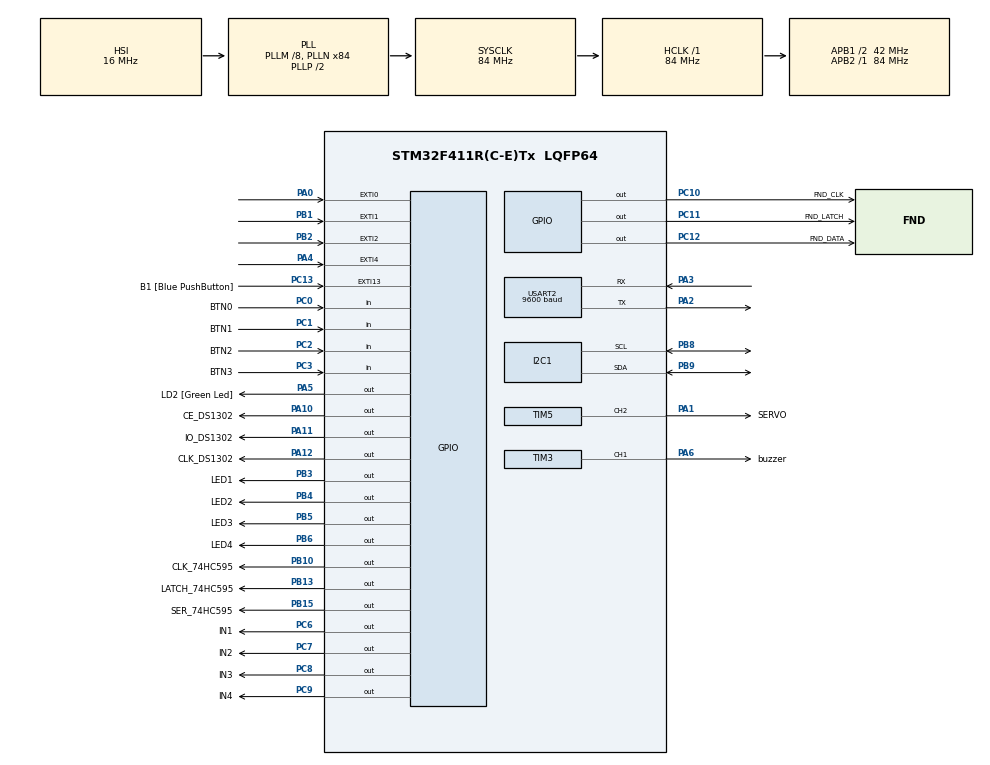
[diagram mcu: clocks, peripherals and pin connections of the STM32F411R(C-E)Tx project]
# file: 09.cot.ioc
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FREERTOS.Mutexes01=myMutex01,Dynamic,NULL
FREERTOS.Tasks01=defaultTask,24,128,StartDefaultTask,Default,NULL,Dynamic,NULL,NULL;myTask02,8,128,StartTask02,Default,NULL,Dynamic,NULL,NULL;myTask03,8,128,StartTask03,Default,NULL,Dynamic,NULL,NULL;myTask04,8,128,StartTask04,Default,NULL,Dynamic,NULL,NULL;myTask05,8,128,StartTask05,Default,NULL,Dynamic,NULL,NULL
FREERTOS.configUSE_NEWLIB_REENTRANT=1
Mcu.Family=STM32F4
Mcu.Name=STM32F411R(C-E)Tx
Mcu.Package=LQFP64
NVIC.EXTI0_IRQn=true\:5\:0\:false\:false\:true\:true\:true\:true
NVIC.EXTI1_IRQn=true\:5\:0\:false\:false\:true\:true\:true\:true
NVIC.EXTI2_IRQn=true\:5\:0\:false\:false\:true\:true\:true\:true
NVIC.EXTI4_IRQn=true\:5\:0\:false\:false\:true\:true\:true\:true
NVIC.PriorityGroup=NVIC_PRIORITYGROUP_4
NVIC.TIM1_TRG_COM_TIM11_IRQn=true\:5\:0\:false\:false\:true\:true\:true\:true
NVIC.TIM1_UP_TIM10_IRQn=true\:15\:0\:false\:false\:true\:false\:false\:true
NVIC.TIM3_IRQn=true\:5\:0\:false\:false\:true\:true\:true\:true
NVIC.TimeBase=TIM1_UP_TIM10_IRQn
NVIC.TimeBaseIP=TIM10
NVIC.USART2_IRQn=true\:5\:0\:false\:false\:true\:true\:true\:true
PA0-WKUP.Signal=GPXTI0
PA1.GPIO_Label=SERVO
PA1.Signal=S_TIM5_CH2
PA10.GPIO_Label=CE_DS1302
PA10.Signal=GPIO_Output
PA11.GPIO_Label=IO_DS1302
PA11.Signal=GPIO_Output
PA12.GPIO_Label=CLK_DS1302
PA12.Signal=GPIO_Output
PA13.GPIO_Label=TMS
PA13.Mode=Serial_Wire
PA13.Signal=SYS_JTMS-SWDIO
PA14.GPIO_Label=TCK
PA14.Mode=Serial_Wire
PA14.Signal=SYS_JTCK-SWCLK
PA2.GPIO_ModeDefaultPP=GPIO_MODE_AF_PP
PA2.GPIO_PuPd=GPIO_NOPULL
PA2.GPIO_Speed=GPIO_SPEED_FREQ_VERY_HIGH
PA2.Mode=Asynchronous
PA2.Signal=USART2_TX
PA3.GPIO_ModeDefaultPP=GPIO_MODE_AF_PP
PA3.GPIO_PuPd=GPIO_NOPULL
PA3.GPIO_Speed=GPIO_SPEED_FREQ_VERY_HIGH
PA3.Mode=Asynchronous
PA3.Signal=USART2_RX
PA4.Signal=GPXTI4
PA5.GPIO_Label=LD2 [Green Led]
PA5.Signal=GPIO_Output
PA6.GPIO_Label=buzzer
PA6.Signal=S_TIM3_CH1
PB1.Signal=GPXTI1
PB10.GPIO_Label=CLK_74HC595
PB10.Signal=GPIO_Output
PB13.GPIO_Label=LATCH_74HC595
PB13.Signal=GPIO_Output
PB15.GPIO_Label=SER_74HC595
PB15.Signal=GPIO_Output
PB2.Signal=GPXTI2
PB3.GPIO_Label=LED1
PB3.Signal=GPIO_Output
PB4.GPIO_Label=LED2
PB4.Signal=GPIO_Output
PB5.GPIO_Label=LED3
PB5.Signal=GPIO_Output
PB6.GPIO_Label=LED4
PB6.Signal=GPIO_Output
PB8.Mode=I2C
PB8.Signal=I2C1_SCL
PB9.Mode=I2C
PB9.Signal=I2C1_SDA
PC0.GPIO_Label=BTN0
PC0.Signal=GPIO_Input
PC1.GPIO_Label=BTN1
PC1.Signal=GPIO_Input
PC10.GPIO_Label=FND_CLK
PC10.Signal=GPIO_Output
PC11.GPIO_Label=FND_LATCH
PC11.Signal=GPIO_Output
PC12.GPIO_Label=FND_DATA
PC12.Signal=GPIO_Output
PC13-ANTI_TAMP.GPIO_Label=B1 [Blue PushButton]
PC13-ANTI_TAMP.GPIO_ModeDefaultEXTI=GPIO_MODE_IT_FALLING
PC13-ANTI_TAMP.GPIO_PuPd=GPIO_NOPULL
PC13-ANTI_TAMP.Signal=GPXTI13
PC14-OSC32_IN.Mode=LSE-External-Oscillator
PC14-OSC32_IN.Signal=RCC_OSC32_IN
PC15-OSC32_OUT.Mode=LSE-External-Oscillator
PC15-OSC32_OUT.Signal=RCC_OSC32_OUT
PC2.GPIO_Label=BTN2
PC2.Signal=GPIO_Input
PC3.GPIO_Label=BTN3
PC3.Signal=GPIO_Input
PC6.GPIO_Label=IN1
PC6.Signal=GPIO_Output
PC7.GPIO_Label=IN2
PC7.Signal=GPIO_Output
PC8.GPIO_Label=IN3
PC8.Signal=GPIO_Output
PC9.GPIO_Label=IN4
PC9.Signal=GPIO_Output
PH0\ -\ OSC_IN.Mode=HSE-External-Clock-Source
PH0\ -\ OSC_IN.Signal=RCC_OSC_IN
PH1\ -\ OSC_OUT.Mode=HSE-External-Clock-Source
PH1\ -\ OSC_OUT.Signal=RCC_OSC_OUT
ProjectManager.HeapSize=0x200
ProjectManager.StackSize=0x400
ProjectManager.TargetToolchain=STM32CubeIDE
RCC.48MHZClocksFreq_Value=42000000
RCC.AHBFreq_Value=84000000
RCC.APB1CLKDivider=RCC_HCLK_DIV2
RCC.APB1Freq_Value=42000000
RCC.APB1TimFreq_Value=84000000
RCC.APB2Freq_Value=84000000
RCC.APB2TimFreq_Value=84000000
RCC.CortexFreq_Value=84000000
RCC.FLatency-AdvancedSettings=FLASH_LATENCY_2
RCC.HCLKFreq_Value=84000000
RCC.HSE_VALUE=8000000
RCC.HSI_VALUE=16000000
RCC.PLLM=8
RCC.PLLN=84
RCC.SYSCLKFreq_VALUE=84000000
RCC.SYSCLKSource=RCC_SYSCLKSOURCE_PLLCLK
RCC.VCOOutputFreq_Value=168000000
SH.S_TIM3_CH1.0=TIM3_CH1,PWM Generation1 CH1
SH.S_TIM5_CH2.0=TIM5_CH2,PWM Generation2 CH2
TIM11.Period=1000-1
TIM11.Prescaler=84-1
TIM2.Prescaler=84-1
TIM3.Channel-PWM\ Generation1\ CH1=TIM_CHANNEL_1
TIM3.Period=400-1
TIM3.Prescaler=52.5-1
TIM3.Pulse-PWM\ Generation1\ CH1=200-1
TIM5.Channel-PWM\ Generation2\ CH2=TIM_CHANNEL_2
TIM5.Period=1000-1
TIM5.Prescaler=1680-1
USART2.BaudRate=9600
USART2.VirtualMode=VM_ASYNC
VP_FREERTOS_VS_CMSIS_V2.Mode=CMSIS_V2
VP_SYS_VS_tim10.Mode=TIM10
VP_TIM11_VS_ClockSourceINT.Mode=Enable_Timer
VP_TIM2_VS_ClockSourceINT.Mode=Internal
VP_TIM3_VS_ClockSourceINT.Mode=Internal
board=NUCLEO-F411RE

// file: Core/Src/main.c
/* USER CODE BEGIN Header */
/**
  ******************************************************************************
  * @file           : main.c
  * @brief          : Main program body
  ******************************************************************************
  * @attention
  *
  * <h2><center>&copy; Copyright (c) 2025 STMicroelectronics.
  * All rights reserved.</center></h2>
  *
  * This software component is licensed by ST under BSD 3-Clause license,
  * the "License"; You may not use this file except in compliance with the
  * License. You may obtain a copy of the License at:
  *                        opensource.org/licenses/BSD-3-Clause
  *
  ******************************************************************************
  */
/* USER CODE END Header */
#include "main.h"
#include "cmsis_os.h"

/* USER CODE BEGIN Includes */
#include "extern.h"
#include "fnd.h"
#include "stepmotor.h"
/* USER CODE END Includes */

I2C_HandleTypeDef hi2c1;

TIM_HandleTypeDef htim2;
TIM_HandleTypeDef htim3;
TIM_HandleTypeDef htim5;
TIM_HandleTypeDef htim11;

UART_HandleTypeDef huart2;

/* Definitions for defaultTask */
osThreadId_t defaultTaskHandle;
const osThreadAttr_t defaultTask_attributes = {
  .name = "defaultTask",
  .stack_size = 128 * 4,
  .priority = (osPriority_t) osPriorityNormal,
};
/* Definitions for myTask02 */
osThreadId_t myTask02Handle;
const osThreadAttr_t myTask02_attributes = {
  .name = "myTask02",
  .stack_size = 128 * 4,
  .priority = (osPriority_t) osPriorityLow,
};
/* Definitions for myTask03 */
osThreadId_t myTask03Handle;
const osThreadAttr_t myTask03_attributes = {
  .name = "myTask03",
  .stack_size = 128 * 4,
  .priority = (osPriority_t) osPriorityLow,
};
/* Definitions for myTask04 */
osThreadId_t myTask04Handle;
const osThreadAttr_t myTask04_attributes = {
  .name = "myTask04",
  .stack_size = 128 * 4,
  .priority = (osPriority_t) osPriorityLow,
};
/* Definitions for myTask05 */
osThreadId_t myTask05Handle;
const osThreadAttr_t myTask05_attributes = {
  .name = "myTask05",
  .stack_size = 128 * 4,
  .priority = (osPriority_t) osPriorityLow,
};
/* Definitions for myMutex01 */
osMutexId_t myMutex01Handle;
const osMutexAttr_t myMutex01_attributes = {
  .name = "myMutex01"
};
/* USER CODE BEGIN PV */
uint8_t rx_data;	//uart2 rx byte
volatile int TIM11_1ms_counter=0;
volatile int line0_timer = 0;
volatile int line1_timer = 0;
/* USER CODE END PV */

void SystemClock_Config(void);
static void MX_GPIO_Init(void);
static void MX_USART2_UART_Init(void);
static void MX_TIM11_Init(void);
static void MX_TIM2_Init(void);
static void MX_I2C1_Init(void);
static void MX_TIM3_Init(void);
static void MX_TIM5_Init(void);
void StartDefaultTask(void *argument);
void StartTask02(void *argument);
void StartTask03(void *argument);
void StartTask04(void *argument);
void StartTask05(void *argument);

/* USER CODE BEGIN 0 */
#ifdef __GNUC__    // Add for printf
/* With GCC, small printf (option LD Linker->Libraries->Small printf
   set to 'Yes') calls __io_putchar() */
#define PUTCHAR_PROTOTYPE int __io_putchar(int ch)
#else
#define PUTCHAR_PROTOTYPE int fputc(int ch, FILE *f)
#endif /* __GNUC__ */
/**
  * @brief  Retargets the C library printf function to the USART.
  * @param  None
  * @retval None
  */
PUTCHAR_PROTOTYPE   // Add for printf
{
  /* Place your implementation of fputc here */
  /* e.g. write a character to the USART3 and Loop until the end of transmission */
  HAL_UART_Transmit(&huart2, (uint8_t *)&ch, 1, 0xFFFF);

  return ch;
}
/* USER CODE END 0 */

int main(void)
{

  /* MCU Configuration--------------------------------------------------------*/

  /* Reset of all peripherals, Initializes the Flash interface and the Systick. */
  HAL_Init();

  /* Configure the system clock */
  SystemClock_Config();

  /* Initialize all configured peripherals */
  MX_GPIO_Init();
  MX_USART2_UART_Init();
  MX_TIM11_Init();
  MX_TIM2_Init();
  MX_I2C1_Init();
  MX_TIM3_Init();
  MX_TIM5_Init();
  /* USER CODE BEGIN 2 */
//  i2c_lcd_init();
  init_i2c();
  HAL_UART_Receive_IT(&huart2, &rx_data, 1);
  HAL_TIM_Base_Start_IT(&htim11);
  HAL_TIM_Base_Start_IT(&htim2);	// for make delay_us

  // stepmotor_main();
  // dotmatrix_main_func();
  // dotmatrix_main_test();
  // servo_motor_main();
  // buzzer_main();
  //i2c_lcd_main();
  // ds1302_main();
  // led_main();
  // dht11_main();
  /* USER CODE END 2 */

  /* Init scheduler */
  osKernelInitialize();
  /* Create the mutex(es) */
  /* creation of myMutex01 */
  myMutex01Handle = osMutexNew(&myMutex01_attributes);

  /* Create the thread(s) */
  /* creation of defaultTask */
  defaultTaskHandle = osThreadNew(StartDefaultTask, NULL, &defaultTask_attributes);

  /* creation of myTask02 */
  myTask02Handle = osThreadNew(StartTask02, NULL, &myTask02_attributes);

  /* creation of myTask03 */
  myTask03Handle = osThreadNew(StartTask03, NULL, &myTask03_attributes);

  /* creation of myTask04 */
  myTask04Handle = osThreadNew(StartTask04, NULL, &myTask04_attributes);

  /* creation of myTask05 */
  myTask05Handle = osThreadNew(StartTask05, NULL, &myTask05_attributes);

  /* Start scheduler */
  osKernelStart();

  /* We should never get here as control is now taken by the scheduler */
  /* Infinite loop */
  /* USER CODE BEGIN WHILE */
  while (1)
  {

//	  button_led_toggle_test();
//	  HAL_GPIO_TogglePin(GPIOA, GPIO_PIN_5);
//	  HAL_Delay(500);
//	  HAL_GPIO_WritePin(GPIOB, 0Xff, 1);
//	  HAL_Delay(500);
//	  HAL_GPIO_WritePin(GPIOB, 0Xff, 0);
//	  HAL_Delay(500);
    /* USER CODE END WHILE */

  }
}

void SystemClock_Config(void)
{
  RCC_OscInitTypeDef RCC_OscInitStruct = {0};
  RCC_ClkInitTypeDef RCC_ClkInitStruct = {0};

  /** Configure the main internal regulator output voltage
  */
  __HAL_RCC_PWR_CLK_ENABLE();
  __HAL_PWR_VOLTAGESCALING_CONFIG(PWR_REGULATOR_VOLTAGE_SCALE1);
  /** Initializes the RCC Oscillators according to the specified parameters
  * in the RCC_OscInitTypeDef structure.
  */
  RCC_OscInitStruct.OscillatorType = RCC_OSCILLATORTYPE_HSI;
  RCC_OscInitStruct.HSIState = RCC_HSI_ON;
  RCC_OscInitStruct.HSICalibrationValue = RCC_HSICALIBRATION_DEFAULT;
  RCC_OscInitStruct.PLL.PLLState = RCC_PLL_ON;
  RCC_OscInitStruct.PLL.PLLSource = RCC_PLLSOURCE_HSI;
  RCC_OscInitStruct.PLL.PLLM = 8;
  RCC_OscInitStruct.PLL.PLLN = 84;
  RCC_OscInitStruct.PLL.PLLP = RCC_PLLP_DIV2;
  RCC_OscInitStruct.PLL.PLLQ = 4;
  if (HAL_RCC_OscConfig(&RCC_OscInitStruct) != HAL_OK)
  {
    Error_Handler();
  }
  /** Initializes the CPU, AHB and APB buses clocks
  */
  RCC_ClkInitStruct.ClockType = RCC_CLOCKTYPE_HCLK|RCC_CLOCKTYPE_SYSCLK
                              |RCC_CLOCKTYPE_PCLK1|RCC_CLOCKTYPE_PCLK2;
  RCC_ClkInitStruct.SYSCLKSource = RCC_SYSCLKSOURCE_PLLCLK;
  RCC_ClkInitStruct.AHBCLKDivider = RCC_SYSCLK_DIV1;
  RCC_ClkInitStruct.APB1CLKDivider = RCC_HCLK_DIV2;
  RCC_ClkInitStruct.APB2CLKDivider = RCC_HCLK_DIV1;

  if (HAL_RCC_ClockConfig(&RCC_ClkInitStruct, FLASH_LATENCY_2) != HAL_OK)
  {
    Error_Handler();
  }
}

static void MX_I2C1_Init(void)
{

  hi2c1.Instance = I2C1;
  hi2c1.Init.ClockSpeed = 100000;
  hi2c1.Init.DutyCycle = I2C_DUTYCYCLE_2;
  hi2c1.Init.OwnAddress1 = 0;
  hi2c1.Init.AddressingMode = I2C_ADDRESSINGMODE_7BIT;
  hi2c1.Init.DualAddressMode = I2C_DUALADDRESS_DISABLE;
  hi2c1.Init.OwnAddress2 = 0;
  hi2c1.Init.GeneralCallMode = I2C_GENERALCALL_DISABLE;
  hi2c1.Init.NoStretchMode = I2C_NOSTRETCH_DISABLE;
  if (HAL_I2C_Init(&hi2c1) != HAL_OK)
  {
    Error_Handler();
  }

}

static void MX_TIM2_Init(void)
{

  TIM_ClockConfigTypeDef sClockSourceConfig = {0};
  TIM_MasterConfigTypeDef sMasterConfig = {0};

  htim2.Instance = TIM2;
  htim2.Init.Prescaler = 84-1;
  htim2.Init.CounterMode = TIM_COUNTERMODE_UP;
  htim2.Init.Period = 4294967295;
  htim2.Init.ClockDivision = TIM_CLOCKDIVISION_DIV1;
  htim2.Init.AutoReloadPreload = TIM_AUTORELOAD_PRELOAD_DISABLE;
  if (HAL_TIM_Base_Init(&htim2) != HAL_OK)
  {
    Error_Handler();
  }
  sClockSourceConfig.ClockSource = TIM_CLOCKSOURCE_INTERNAL;
  if (HAL_TIM_ConfigClockSource(&htim2, &sClockSourceConfig) != HAL_OK)
  {
    Error_Handler();
  }
  sMasterConfig.MasterOutputTrigger = TIM_TRGO_RESET;
  sMasterConfig.MasterSlaveMode = TIM_MASTERSLAVEMODE_DISABLE;
  if (HAL_TIMEx_MasterConfigSynchronization(&htim2, &sMasterConfig) != HAL_OK)
  {
    Error_Handler();
  }

}

static void MX_TIM3_Init(void)
{

  TIM_ClockConfigTypeDef sClockSourceConfig = {0};
  TIM_MasterConfigTypeDef sMasterConfig = {0};
  TIM_OC_InitTypeDef sConfigOC = {0};

  htim3.Instance = TIM3;
  htim3.Init.Prescaler = 52.5-1;
  htim3.Init.CounterMode = TIM_COUNTERMODE_UP;
  htim3.Init.Period = 400-1;
  htim3.Init.ClockDivision = TIM_CLOCKDIVISION_DIV1;
  htim3.Init.AutoReloadPreload = TIM_AUTORELOAD_PRELOAD_DISABLE;
  if (HAL_TIM_Base_Init(&htim3) != HAL_OK)
  {
    Error_Handler();
  }
  sClockSourceConfig.ClockSource = TIM_CLOCKSOURCE_INTERNAL;
  if (HAL_TIM_ConfigClockSource(&htim3, &sClockSourceConfig) != HAL_OK)
  {
    Error_Handler();
  }
  if (HAL_TIM_PWM_Init(&htim3) != HAL_OK)
  {
    Error_Handler();
  }
  sMasterConfig.MasterOutputTrigger = TIM_TRGO_RESET;
  sMasterConfig.MasterSlaveMode = TIM_MASTERSLAVEMODE_DISABLE;
  if (HAL_TIMEx_MasterConfigSynchronization(&htim3, &sMasterConfig) != HAL_OK)
  {
    Error_Handler();
  }
  sConfigOC.OCMode = TIM_OCMODE_PWM1;
  sConfigOC.Pulse = 200-1;
  sConfigOC.OCPolarity = TIM_OCPOLARITY_HIGH;
  sConfigOC.OCFastMode = TIM_OCFAST_DISABLE;
  if (HAL_TIM_PWM_ConfigChannel(&htim3, &sConfigOC, TIM_CHANNEL_1) != HAL_OK)
  {
    Error_Handler();
  }
  HAL_TIM_MspPostInit(&htim3);

}

static void MX_TIM5_Init(void)
{

  TIM_MasterConfigTypeDef sMasterConfig = {0};
  TIM_OC_InitTypeDef sConfigOC = {0};

  htim5.Instance = TIM5;
  htim5.Init.Prescaler = 1680-1;
  htim5.Init.CounterMode = TIM_COUNTERMODE_UP;
  htim5.Init.Period = 1000-1;
  htim5.Init.ClockDivision = TIM_CLOCKDIVISION_DIV1;
  htim5.Init.AutoReloadPreload = TIM_AUTORELOAD_PRELOAD_DISABLE;
  if (HAL_TIM_PWM_Init(&htim5) != HAL_OK)
  {
    Error_Handler();
  }
  sMasterConfig.MasterOutputTrigger = TIM_TRGO_RESET;
  sMasterConfig.MasterSlaveMode = TIM_MASTERSLAVEMODE_DISABLE;
  if (HAL_TIMEx_MasterConfigSynchronization(&htim5, &sMasterConfig) != HAL_OK)
  {
    Error_Handler();
  }
  sConfigOC.OCMode = TIM_OCMODE_PWM1;
  sConfigOC.Pulse = 0;
  sConfigOC.OCPolarity = TIM_OCPOLARITY_HIGH;
  sConfigOC.OCFastMode = TIM_OCFAST_DISABLE;
  if (HAL_TIM_PWM_ConfigChannel(&htim5, &sConfigOC, TIM_CHANNEL_2) != HAL_OK)
  {
    Error_Handler();
  }
  HAL_TIM_MspPostInit(&htim5);

}

static void MX_TIM11_Init(void)
{

  htim11.Instance = TIM11;
  htim11.Init.Prescaler = 84-1;
  htim11.Init.CounterMode = TIM_COUNTERMODE_UP;
  htim11.Init.Period = 1000-1;
  htim11.Init.ClockDivision = TIM_CLOCKDIVISION_DIV1;
  htim11.Init.AutoReloadPreload = TIM_AUTORELOAD_PRELOAD_DISABLE;
  if (HAL_TIM_Base_Init(&htim11) != HAL_OK)
  {
    Error_Handler();
  }

}

static void MX_USART2_UART_Init(void)
{

  huart2.Instance = USART2;
  huart2.Init.BaudRate = 9600;
  huart2.Init.WordLength = UART_WORDLENGTH_8B;
  huart2.Init.StopBits = UART_STOPBITS_1;
  huart2.Init.Parity = UART_PARITY_NONE;
  huart2.Init.Mode = UART_MODE_TX_RX;
  huart2.Init.HwFlowCtl = UART_HWCONTROL_NONE;
  huart2.Init.OverSampling = UART_OVERSAMPLING_16;
  if (HAL_UART_Init(&huart2) != HAL_OK)
  {
    Error_Handler();
  }

}

static void MX_GPIO_Init(void)
{
  GPIO_InitTypeDef GPIO_InitStruct = {0};

  /* GPIO Ports Clock Enable */
  __HAL_RCC_GPIOC_CLK_ENABLE();
  __HAL_RCC_GPIOH_CLK_ENABLE();
  __HAL_RCC_GPIOA_CLK_ENABLE();
  __HAL_RCC_GPIOB_CLK_ENABLE();

  /*Configure GPIO pin Output Level */
  HAL_GPIO_WritePin(GPIOA, LD2_Pin|CE_DS1302_Pin|IO_DS1302_Pin|CLK_DS1302_Pin, GPIO_PIN_RESET);

  /*Configure GPIO pin Output Level */
  HAL_GPIO_WritePin(GPIOB, CLK_74HC595_Pin|LATCH_74HC595_Pin|SER_74HC595_Pin|LED1_Pin
                          |LED2_Pin|LED3_Pin|LED4_Pin, GPIO_PIN_RESET);

  /*Configure GPIO pin Output Level */
  HAL_GPIO_WritePin(GPIOC, IN1_Pin|IN2_Pin|IN3_Pin|IN4_Pin
                          |FND_CLK_Pin|FND_LATCH_Pin|FND_DATA_Pin, GPIO_PIN_RESET);

  /*Configure GPIO pin : B1_Pin */
  GPIO_InitStruct.Pin = B1_Pin;
  GPIO_InitStruct.Mode = GPIO_MODE_IT_FALLING;
  GPIO_InitStruct.Pull = GPIO_NOPULL;
  HAL_GPIO_Init(B1_GPIO_Port, &GPIO_InitStruct);

  /*Configure GPIO pins : BTN0_Pin BTN1_Pin BTN2_Pin BTN3_Pin */
  GPIO_InitStruct.Pin = BTN0_Pin|BTN1_Pin|BTN2_Pin|BTN3_Pin;
  GPIO_InitStruct.Mode = GPIO_MODE_INPUT;
  GPIO_InitStruct.Pull = GPIO_NOPULL;
  HAL_GPIO_Init(GPIOC, &GPIO_InitStruct);

  /*Configure GPIO pins : PA0 PA4 */
  GPIO_InitStruct.Pin = GPIO_PIN_0|GPIO_PIN_4;
  GPIO_InitStruct.Mode = GPIO_MODE_IT_RISING;
  GPIO_InitStruct.Pull = GPIO_NOPULL;
  HAL_GPIO_Init(GPIOA, &GPIO_InitStruct);

  /*Configure GPIO pins : LD2_Pin CE_DS1302_Pin IO_DS1302_Pin CLK_DS1302_Pin */
  GPIO_InitStruct.Pin = LD2_Pin|CE_DS1302_Pin|IO_DS1302_Pin|CLK_DS1302_Pin;
  GPIO_InitStruct.Mode = GPIO_MODE_OUTPUT_PP;
  GPIO_InitStruct.Pull = GPIO_NOPULL;
  GPIO_InitStruct.Speed = GPIO_SPEED_FREQ_LOW;
  HAL_GPIO_Init(GPIOA, &GPIO_InitStruct);

  /*Configure GPIO pins : PB1 PB2 */
  GPIO_InitStruct.Pin = GPIO_PIN_1|GPIO_PIN_2;
  GPIO_InitStruct.Mode = GPIO_MODE_IT_RISING;
  GPIO_InitStruct.Pull = GPIO_NOPULL;
  HAL_GPIO_Init(GPIOB, &GPIO_InitStruct);

  /*Configure GPIO pins : CLK_74HC595_Pin LATCH_74HC595_Pin SER_74HC595_Pin LED1_Pin
                           LED2_Pin LED3_Pin LED4_Pin */
  GPIO_InitStruct.Pin = CLK_74HC595_Pin|LATCH_74HC595_Pin|SER_74HC595_Pin|LED1_Pin
                          |LED2_Pin|LED3_Pin|LED4_Pin;
  GPIO_InitStruct.Mode = GPIO_MODE_OUTPUT_PP;
  GPIO_InitStruct.Pull = GPIO_NOPULL;
  GPIO_InitStruct.Speed = GPIO_SPEED_FREQ_LOW;
  HAL_GPIO_Init(GPIOB, &GPIO_InitStruct);

  /*Configure GPIO pins : IN1_Pin IN2_Pin IN3_Pin IN4_Pin
                           FND_CLK_Pin FND_LATCH_Pin FND_DATA_Pin */
  GPIO_InitStruct.Pin = IN1_Pin|IN2_Pin|IN3_Pin|IN4_Pin
                          |FND_CLK_Pin|FND_LATCH_Pin|FND_DATA_Pin;
  GPIO_InitStruct.Mode = GPIO_MODE_OUTPUT_PP;
  GPIO_InitStruct.Pull = GPIO_NOPULL;
  GPIO_InitStruct.Speed = GPIO_SPEED_FREQ_LOW;
  HAL_GPIO_Init(GPIOC, &GPIO_InitStruct);

  /* EXTI interrupt init*/
  HAL_NVIC_SetPriority(EXTI0_IRQn, 5, 0);
  HAL_NVIC_EnableIRQ(EXTI0_IRQn);

  HAL_NVIC_SetPriority(EXTI1_IRQn, 5, 0);
  HAL_NVIC_EnableIRQ(EXTI1_IRQn);

  HAL_NVIC_SetPriority(EXTI2_IRQn, 5, 0);
  HAL_NVIC_EnableIRQ(EXTI2_IRQn);

  HAL_NVIC_SetPriority(EXTI4_IRQn, 5, 0);
  HAL_NVIC_EnableIRQ(EXTI4_IRQn);

}

void StartDefaultTask(void *argument)
{
  /* USER CODE BEGIN 5 */
  /* Infinite loop */
  for(;;)
  {
	  // HAL_GPIO_TogglePin(GPIOA, GPIO_PIN_5);
	  ds1302_main();
	  osDelay(50); //
  }
  /* USER CODE END 5 */
}

void StartTask02(void *argument)
{
  /* USER CODE BEGIN StartTask02 */
  /* Infinite loop */
  for(;;)
  {
	  dotmatrix_main_test();
	  osDelay(1);
  }
  /* USER CODE END StartTask02 */
}

void StartTask03(void *argument)
{
  /* USER CODE BEGIN StartTask03 */
  /* Infinite loop */
  for(;;)
  {
	stepmotor_main();
    osDelay(1);
  }
  /* USER CODE END StartTask03 */
}

void StartTask04(void *argument)
{
  /* USER CODE BEGIN StartTask04 */
  /* Infinite loop */
  for(;;)
  {
	  if(stepmotor_state == FORWARD)
	  {
		  shift_right_ledon();
	  }
	  else if(stepmotor_state ==  BACKWARD)
	  {
		  shift_left_ledon();
	  }

	  osDelay(1);
  }
  /* USER CODE END StartTask04 */
}

void StartTask05(void *argument)
{
  /* USER CODE BEGIN StartTask05 */
  /* Infinite loop */
  for(;;)
  {
	  fnd_display();
	  // buzzer_main();
	  osDelay(1);
  }
  /* USER CODE END StartTask05 */
}

void HAL_TIM_PeriodElapsedCallback(TIM_HandleTypeDef *htim)
{
  if (htim->Instance == TIM10) {
    HAL_IncTick();
  }
  /* USER CODE BEGIN Callback 1 */
  if (htim->Instance == TIM11) {
	  TIM11_1ms_counter++;
	  line0_timer++;
	  line1_timer++;
    }
  /* USER CODE END Callback 1 */
}

void Error_Handler(void)
{
  __disable_irq();
  while (1)
  {
  }
}

/************************ (C) COPYRIGHT STMicroelectronics *****END OF FILE****/
